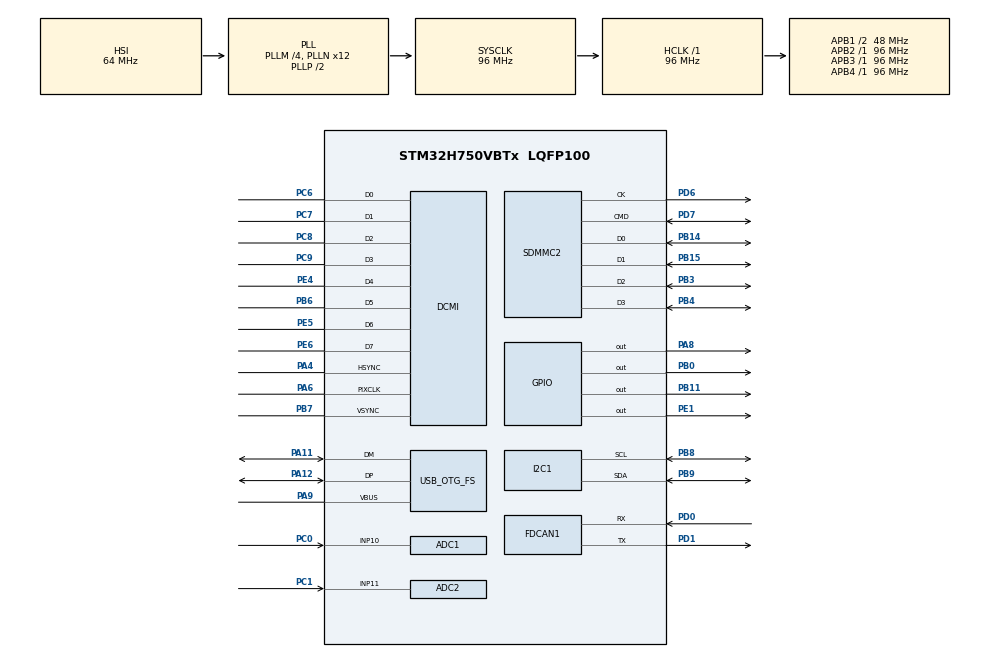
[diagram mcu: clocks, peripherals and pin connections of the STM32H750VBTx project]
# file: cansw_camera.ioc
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ADC1.Channel-0\#ChannelRegularConversion=ADC_CHANNEL_10
ADC1.ClockPrescaler=ADC_CLOCK_ASYNC_DIV64
ADC1.NbrOfConversionFlag=1
ADC1.OffsetNumber-0\#ChannelRegularConversion=ADC_OFFSET_NONE
ADC1.OffsetSignedSaturation-0\#ChannelRegularConversion=DISABLE
ADC1.Rank-0\#ChannelRegularConversion=1
ADC1.Resolution=ADC_RESOLUTION_12B
ADC1.SamplingTime-0\#ChannelRegularConversion=ADC_SAMPLETIME_1CYCLE_5
ADC1.master=1
ADC2.Channel-0\#ChannelRegularConversion=ADC_CHANNEL_11
ADC2.ClockPrescaler=ADC_CLOCK_ASYNC_DIV64
ADC2.NbrOfConversionFlag=1
ADC2.OffsetNumber-0\#ChannelRegularConversion=ADC_OFFSET_NONE
ADC2.OffsetSignedSaturation-0\#ChannelRegularConversion=DISABLE
ADC2.Rank-0\#ChannelRegularConversion=1
ADC2.Resolution=ADC_RESOLUTION_12B
ADC2.SamplingTime-0\#ChannelRegularConversion=ADC_SAMPLETIME_1CYCLE_5
DCMI.HSPolarity=DCMI_HSPOLARITY_HIGH
DCMI.JPEGMode=DCMI_JPEG_ENABLE
DCMI.PCKPolarity=DCMI_PCKPOLARITY_RISING
DCMI.VSPolarity=DCMI_VSPOLARITY_LOW
Dma.DCMI.0.Direction=DMA_PERIPH_TO_MEMORY
Dma.DCMI.0.EventEnable=DISABLE
Dma.DCMI.0.FIFOMode=DMA_FIFOMODE_DISABLE
Dma.DCMI.0.Instance=DMA2_Stream0
Dma.DCMI.0.MemDataAlignment=DMA_MDATAALIGN_WORD
Dma.DCMI.0.MemInc=DMA_MINC_ENABLE
Dma.DCMI.0.Mode=DMA_NORMAL
Dma.DCMI.0.PeriphDataAlignment=DMA_PDATAALIGN_WORD
Dma.DCMI.0.PeriphInc=DMA_PINC_DISABLE
Dma.DCMI.0.Polarity=HAL_DMAMUX_REQ_GEN_RISING
Dma.DCMI.0.Priority=DMA_PRIORITY_HIGH
Dma.DCMI.0.RequestNumber=1
Dma.DCMI.0.SignalID=NONE
Dma.DCMI.0.SyncEnable=DISABLE
Dma.DCMI.0.SyncPolarity=HAL_DMAMUX_SYNC_NO_EVENT
Dma.DCMI.0.SyncRequestNumber=1
Dma.DCMI.0.SyncSignalID=NONE
Dma.Request0=DCMI
FDCAN1.AutoRetransmission=ENABLE
FDCAN1.CalculateBaudRateNominal=250000
FDCAN1.CalculateTimeBitNominal=4000
FDCAN1.CalculateTimeQuantumNominal=1333.3333333333333
FDCAN1.NominalPrescaler=64
FDCAN1.RxFifo0ElmtsNbr=64
FDCAN1.TxEventsNbr=32
FDCAN1.TxFifoQueueElmtsNbr=32
I2C1.Timing=0x20303E5D
Mcu.Family=STM32H7
Mcu.Name=STM32H750VBTx
Mcu.Package=LQFP100
NVIC.DCMI_IRQn=true\:0\:0\:false\:false\:true\:true\:true\:true
NVIC.DMA2_Stream0_IRQn=true\:0\:0\:false\:false\:true\:false\:true\:true
NVIC.FDCAN1_IT0_IRQn=true\:0\:0\:false\:false\:true\:true\:true\:true
NVIC.FDCAN1_IT1_IRQn=true\:0\:0\:false\:false\:true\:true\:true\:true
NVIC.FDCAN_CAL_IRQn=true\:0\:0\:false\:false\:true\:true\:true\:true
NVIC.PriorityGroup=NVIC_PRIORITYGROUP_4
NVIC.SDMMC2_IRQn=true\:0\:0\:false\:false\:true\:true\:true\:true
PA11.Mode=Device_Only
PA11.Signal=USB_OTG_FS_DM
PA12.Mode=Device_Only
PA12.Signal=USB_OTG_FS_DP
PA13\ (JTMS/SWDIO).Signal=DEBUG_JTMS-SWDIO
PA14\ (JTCK/SWCLK).Signal=DEBUG_JTCK-SWCLK
PA4.Mode=Slave_8_bits_External_Synchro
PA4.Signal=DCMI_HSYNC
PA6.Mode=Slave_8_bits_External_Synchro
PA6.Signal=DCMI_PIXCLK
PA8.Signal=GPIO_Output
PA9.Mode=Activate_VBUS
PA9.Signal=USB_OTG_FS_VBUS
PB0.Signal=GPIO_Output
PB11.Signal=GPIO_Output
PB14.Mode=SD_4_bits_Wide_bus
PB14.Signal=SDMMC2_D0
PB15.Mode=SD_4_bits_Wide_bus
PB15.Signal=SDMMC2_D1
PB3\ (JTDO/TRACESWO).Mode=SD_4_bits_Wide_bus
PB3\ (JTDO/TRACESWO).Signal=SDMMC2_D2
PB4\ (NJTRST).Mode=SD_4_bits_Wide_bus
PB4\ (NJTRST).Signal=SDMMC2_D3
PB6.Mode=Slave_8_bits_External_Synchro
PB6.Signal=DCMI_D5
PB7.Mode=Slave_8_bits_External_Synchro
PB7.Signal=DCMI_VSYNC
PB8.Mode=I2C
PB8.Signal=I2C1_SCL
PB9.Mode=I2C
PB9.Signal=I2C1_SDA
PC0.Signal=ADCx_INP10
PC1.Signal=ADCx_INP11
PC6.Mode=Slave_8_bits_External_Synchro
PC6.Signal=DCMI_D0
PC7.Mode=Slave_8_bits_External_Synchro
PC7.Signal=DCMI_D1
PC8.Mode=Slave_8_bits_External_Synchro
PC8.Signal=DCMI_D2
PC9.Mode=Slave_8_bits_External_Synchro
PC9.Signal=DCMI_D3
PD0.Mode=FDCAN_Activate
PD0.Signal=FDCAN1_RX
PD1.Mode=FDCAN_Activate
PD1.Signal=FDCAN1_TX
PD6.Mode=SD_4_bits_Wide_bus
PD6.Signal=SDMMC2_CK
PD7.Mode=SD_4_bits_Wide_bus
PD7.Signal=SDMMC2_CMD
PE1.PinState=GPIO_PIN_SET
PE1.Signal=GPIO_Output
PE4.Mode=Slave_8_bits_External_Synchro
PE4.Signal=DCMI_D4
PE5.Mode=Slave_8_bits_External_Synchro
PE5.Signal=DCMI_D6
PE6.Mode=Slave_8_bits_External_Synchro
PE6.Signal=DCMI_D7
ProjectManager.HeapSize=0x200
ProjectManager.StackSize=0x400
ProjectManager.TargetToolchain=STM32CubeIDE
RCC.ADCFreq_Value=80000000
RCC.APB1Freq_Value=48000000
RCC.APB2Freq_Value=96000000
RCC.APB3Freq_Value=96000000
RCC.APB4Freq_Value=96000000
RCC.CortexFreq_Value=96000000
RCC.D2PPRE1=RCC_APB1_DIV2
RCC.DIVM1=4
RCC.DIVM2=4
RCC.DIVN1=12
RCC.DIVN2=10
RCC.DIVQ1=4
RCC.HCLKFreq_Value=96000000
RCC.PLL2FRACN=0
RCC.PLL3FRACN=0
RCC.PLLFRACN=0
RCC.SYSCLKFreq_VALUE=96000000
RCC.SYSCLKSource=RCC_SYSCLKSOURCE_PLLCLK
RCC.USBCLockSelection=RCC_USBCLKSOURCE_HSI48
RCC.USBFreq_Value=48000000
RCC.VDD_VALUE=2.8
SDMMC2.ClockDiv=8
SH.ADCx_INP10.0=ADC1_INP10,IN10-Single-Ended
SH.ADCx_INP11.0=ADC2_INP11,IN11-Single-Ended
USB_OTG_FS.VirtualMode=Device_Only
USB_OTG_FS.battery_charging_enable=DISABLE
VP_MEMORYMAP_VS_MEMORYMAP.Mode=CurAppReg
VP_RCC_USB.Mode=USB_FS
VP_VREFBUF_V_VREFBUF.Mode=ExternalMode
board=custom

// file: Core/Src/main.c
/* USER CODE BEGIN Header */
/**
 ******************************************************************************
 * @file           : main.c
 * @brief          : Main program body
 ******************************************************************************
 * @attention
 *
 * Copyright (c) 2024 STMicroelectronics.
 * All rights reserved.
 *
 * This software is licensed under terms that can be found in the LICENSE file
 * in the root directory of this software component.
 * If no LICENSE file comes with this software, it is provided AS-IS.
 *
 ******************************************************************************
 */
/* USER CODE END Header */
#include "main.h"

/* USER CODE BEGIN Includes */
#include "canlib.h"
#include "util/can_tx_buffer.h"
#include "platform.h"
#include "health_check.h"
#include "video.h"
/* USER CODE END Includes */

/* USER CODE BEGIN PD */
#define STATUS_TIME_ms 500 // Main status loop
#define FPS_TIME_ms 1000 // How often to report FPS
#define SYNC_TIME_ms 10000 // How often to sync video to the SD card
#define MAX_BUS_DEAD_TIME_ms 1000 // If we see no CAN messages (including our own), reset
#define MAX_CAN_IDLE_TIME_ms 15*60*1000 // If we see no actuator commands, turn off
/* USER CODE END PD */

/* USER CODE BEGIN PM */
can_actuator_id_t ACTUATOR_ID = ACTUATOR_CAMERA_CANARD_A;
/* USER CODE END PM */

ADC_HandleTypeDef hadc1;
ADC_HandleTypeDef hadc2;

DCMI_HandleTypeDef hdcmi;
DMA_HandleTypeDef hdma_dcmi;

FDCAN_HandleTypeDef hfdcan1;

I2C_HandleTypeDef hi2c1;

SD_HandleTypeDef hsd2;

PCD_HandleTypeDef hpcd_USB_OTG_FS;

void SystemClock_Config(void);
void PeriphCommonClock_Config(void);
static void MX_GPIO_Init(void);
static void MX_DMA_Init(void);
static void MX_DCMI_Init(void);
static void MX_SDMMC2_SD_Init(void);
static void MX_USB_OTG_FS_PCD_Init(void);
static void MX_FDCAN1_Init(void);
static void MX_I2C1_Init(void);
static void MX_ADC1_Init(void);
static void MX_ADC2_Init(void);

/* USER CODE BEGIN 0 */
volatile bool seen_can_command = false;
volatile bool recording_request = false;
void can_callback_function(const can_msg_t *msg, uint32_t) {
    switch (get_message_type(msg)) {
        case MSG_LEDS_ON:
            LED_RED_ON();
            LED_GREEN_ON();
            break;
        case MSG_LEDS_OFF:
            LED_RED_OFF();
            LED_GREEN_OFF();
            break;
        case MSG_RESET_CMD:
		    if(check_board_need_reset(msg)){
                NVIC_SystemReset();
		    }
            break;
        case MSG_ACTUATOR_CMD:
            if (get_actuator_id(msg) == ACTUATOR_ID) {
                seen_can_command = true;
                recording_request = (get_cmd_actuator_state(msg) == ACT_STATE_ON);
            }
            break;
        default:
            break;
    }
}
/* USER CODE END 0 */

int main(void)
{

  /* MCU Configuration--------------------------------------------------------*/

  /* Reset of all peripherals, Initializes the Flash interface and the Systick. */
  HAL_Init();

  /* Configure the system clock */
  SystemClock_Config();

  /* Configure the peripherals common clocks */
  PeriphCommonClock_Config();

  /* Initialize all configured peripherals */
  MX_GPIO_Init();
  MX_DMA_Init();
  MX_DCMI_Init();
  MX_SDMMC2_SD_Init();
  MX_USB_OTG_FS_PCD_Init();
  MX_FDCAN1_Init();
  MX_I2C1_Init();
  MX_ADC1_Init();
  MX_ADC2_Init();
  /* USER CODE BEGIN 2 */

    can_init_stm(&hfdcan1, can_callback_function);
  /* USER CODE END 2 */

  /* Infinite loop */
  /* USER CODE BEGIN WHILE */

	// Re-assign ACTUATOR_ID based on Board Instance ID
	switch(BOARD_INST_UNIQUE_ID) {
	case BOARD_INST_ID_CAMERA_CANARD_A:
		ACTUATOR_ID = ACTUATOR_CAMERA_CANARD_A;
		break;
	case BOARD_INST_ID_CAMERA_CANARD_B:
		ACTUATOR_ID = ACTUATOR_CAMERA_CANARD_B;
		break;
	case BOARD_INST_ID_CAMERA_RECOVERY:
		ACTUATOR_ID = ACTUATOR_CAMERA_RECOVERY;
		break;
	case BOARD_INST_ID_PAYLOAD:
		ACTUATOR_ID = ACTUATOR_CAMERA_PAYLOAD;
		break;
	}

    uint32_t last_command_time = 0;
    uint32_t last_status_time = 0;
    uint32_t last_fps_time = 0;
    uint32_t last_sync_time = 0;

    uint8_t fps_counter = 0;
    while (1) {
        if (seen_can_command) {
            seen_can_command = false;
            last_command_time = millis();
        }

        if (millis() - last_command_time > MAX_CAN_IDLE_TIME_ms) {
            recording_request = false;
        }

        if (millis() - last_status_time > STATUS_TIME_ms) {
            last_status_time = millis();
            LED_GREEN_TOGGLE();

			uint32_t general_error_bitfield = health_check();
            HAL_Delay(1); // Allow time for the TX fifo to empty??? Hacky fix
            video_state_t video_state = video_get_state();
            can_msg_t board_stat_msg;
            if (video_state != VIDEO_OFF && video_state != VIDEO_ON) {
			    build_general_board_status_msg(PRIO_HIGH, millis(), general_error_bitfield, 1, &board_stat_msg);
            } else {
                build_general_board_status_msg(PRIO_HIGH, millis(), general_error_bitfield, 0, &board_stat_msg);
            }
			can_send(&board_stat_msg);

            can_msg_t actuator_state_msg;
            can_actuator_state_t cur_state = ACT_STATE_ILLEGAL;
            if (video_state == VIDEO_OFF) {cur_state = ACT_STATE_OFF;}
            if (video_state == VIDEO_ON) {cur_state = ACT_STATE_ON;}
            can_actuator_state_t req_state = recording_request ? ACT_STATE_ON : ACT_STATE_OFF;
            build_actuator_status_msg(PRIO_MEDIUM, millis(), ACTUATOR_ID, cur_state, req_state, &actuator_state_msg);
            HAL_Delay(1); // Allow time for the TX fifo to empty??? Hacky fix
            can_send(&actuator_state_msg);

            // If something went wrong, turn off the camera and let another actuator command retry
            if (video_state != VIDEO_OFF && video_state != VIDEO_ON) {
                recording_request = false;
            }
        }

        if (recording_request) {
            LED_RED_ON();
            if (video_get_state() == VIDEO_OFF) {
                video_start();
                last_sync_time = millis();
            }

            if (video_capture_frame()) {
                fps_counter++;
            }

            if (millis() - last_sync_time > SYNC_TIME_ms) {
                last_sync_time = millis();
                video_f_sync();
            }
        } else {
            LED_RED_OFF();
            if (video_get_state() != VIDEO_OFF) {
                video_stop();
            }
        }

        if (millis() - last_fps_time > FPS_TIME_ms) {
            last_fps_time = millis();

            can_msg_t fps_msg;
            build_analog_data_msg(PRIO_MEDIUM, millis(), SENSOR_FPS, fps_counter / (FPS_TIME_ms / 1000), &fps_msg);
            can_send(&fps_msg);

            fps_counter = 0;
        }

        txb_heartbeat();
    /* USER CODE END WHILE */

    }
}

void SystemClock_Config(void)
{
  RCC_OscInitTypeDef RCC_OscInitStruct = {0};
  RCC_ClkInitTypeDef RCC_ClkInitStruct = {0};
  RCC_CRSInitTypeDef RCC_CRSInitStruct = {0};

  /** Supply configuration update enable
  */
  HAL_PWREx_ConfigSupply(PWR_LDO_SUPPLY);

  /** Configure the main internal regulator output voltage
  */
  __HAL_PWR_VOLTAGESCALING_CONFIG(PWR_REGULATOR_VOLTAGE_SCALE3);

  while(!__HAL_PWR_GET_FLAG(PWR_FLAG_VOSRDY)) {}

  /** Initializes the RCC Oscillators according to the specified parameters
  * in the RCC_OscInitTypeDef structure.
  */
  RCC_OscInitStruct.OscillatorType = RCC_OSCILLATORTYPE_HSI48|RCC_OSCILLATORTYPE_HSI;
  RCC_OscInitStruct.HSIState = RCC_HSI_DIV1;
  RCC_OscInitStruct.HSICalibrationValue = RCC_HSICALIBRATION_DEFAULT;
  RCC_OscInitStruct.HSI48State = RCC_HSI48_ON;
  RCC_OscInitStruct.PLL.PLLState = RCC_PLL_ON;
  RCC_OscInitStruct.PLL.PLLSource = RCC_PLLSOURCE_HSI;
  RCC_OscInitStruct.PLL.PLLM = 4;
  RCC_OscInitStruct.PLL.PLLN = 12;
  RCC_OscInitStruct.PLL.PLLP = 2;
  RCC_OscInitStruct.PLL.PLLQ = 4;
  RCC_OscInitStruct.PLL.PLLR = 2;
  RCC_OscInitStruct.PLL.PLLRGE = RCC_PLL1VCIRANGE_3;
  RCC_OscInitStruct.PLL.PLLVCOSEL = RCC_PLL1VCOWIDE;
  RCC_OscInitStruct.PLL.PLLFRACN = 0;
  if (HAL_RCC_OscConfig(&RCC_OscInitStruct) != HAL_OK)
  {
    Error_Handler();
  }

  /** Initializes the CPU, AHB and APB buses clocks
  */
  RCC_ClkInitStruct.ClockType = RCC_CLOCKTYPE_HCLK|RCC_CLOCKTYPE_SYSCLK
                              |RCC_CLOCKTYPE_PCLK1|RCC_CLOCKTYPE_PCLK2
                              |RCC_CLOCKTYPE_D3PCLK1|RCC_CLOCKTYPE_D1PCLK1;
  RCC_ClkInitStruct.SYSCLKSource = RCC_SYSCLKSOURCE_PLLCLK;
  RCC_ClkInitStruct.SYSCLKDivider = RCC_SYSCLK_DIV1;
  RCC_ClkInitStruct.AHBCLKDivider = RCC_HCLK_DIV1;
  RCC_ClkInitStruct.APB3CLKDivider = RCC_APB3_DIV1;
  RCC_ClkInitStruct.APB1CLKDivider = RCC_APB1_DIV2;
  RCC_ClkInitStruct.APB2CLKDivider = RCC_APB2_DIV1;
  RCC_ClkInitStruct.APB4CLKDivider = RCC_APB4_DIV1;

  if (HAL_RCC_ClockConfig(&RCC_ClkInitStruct, FLASH_LATENCY_2) != HAL_OK)
  {
    Error_Handler();
  }

  /** Enable the SYSCFG APB clock
  */
  __HAL_RCC_CRS_CLK_ENABLE();

  /** Configures CRS
  */
  RCC_CRSInitStruct.Prescaler = RCC_CRS_SYNC_DIV1;
  RCC_CRSInitStruct.Source = RCC_CRS_SYNC_SOURCE_USB2;
  RCC_CRSInitStruct.Polarity = RCC_CRS_SYNC_POLARITY_RISING;
  RCC_CRSInitStruct.ReloadValue = __HAL_RCC_CRS_RELOADVALUE_CALCULATE(48000000,1000);
  RCC_CRSInitStruct.ErrorLimitValue = 34;
  RCC_CRSInitStruct.HSI48CalibrationValue = 32;

  HAL_RCCEx_CRSConfig(&RCC_CRSInitStruct);
}

void PeriphCommonClock_Config(void)
{
  RCC_PeriphCLKInitTypeDef PeriphClkInitStruct = {0};

  /** Initializes the peripherals clock
  */
  PeriphClkInitStruct.PeriphClockSelection = RCC_PERIPHCLK_ADC;
  PeriphClkInitStruct.PLL2.PLL2M = 4;
  PeriphClkInitStruct.PLL2.PLL2N = 10;
  PeriphClkInitStruct.PLL2.PLL2P = 2;
  PeriphClkInitStruct.PLL2.PLL2Q = 2;
  PeriphClkInitStruct.PLL2.PLL2R = 2;
  PeriphClkInitStruct.PLL2.PLL2RGE = RCC_PLL2VCIRANGE_3;
  PeriphClkInitStruct.PLL2.PLL2VCOSEL = RCC_PLL2VCOMEDIUM;
  PeriphClkInitStruct.PLL2.PLL2FRACN = 0;
  PeriphClkInitStruct.AdcClockSelection = RCC_ADCCLKSOURCE_PLL2;
  if (HAL_RCCEx_PeriphCLKConfig(&PeriphClkInitStruct) != HAL_OK)
  {
    Error_Handler();
  }
}

static void MX_ADC1_Init(void)
{

  ADC_MultiModeTypeDef multimode = {0};
  ADC_ChannelConfTypeDef sConfig = {0};

  /** Common config
  */
  hadc1.Instance = ADC1;
  hadc1.Init.ClockPrescaler = ADC_CLOCK_ASYNC_DIV64;
  hadc1.Init.Resolution = ADC_RESOLUTION_12B;
  hadc1.Init.ScanConvMode = ADC_SCAN_DISABLE;
  hadc1.Init.EOCSelection = ADC_EOC_SINGLE_CONV;
  hadc1.Init.LowPowerAutoWait = DISABLE;
  hadc1.Init.ContinuousConvMode = DISABLE;
  hadc1.Init.NbrOfConversion = 1;
  hadc1.Init.DiscontinuousConvMode = DISABLE;
  hadc1.Init.ExternalTrigConv = ADC_SOFTWARE_START;
  hadc1.Init.ExternalTrigConvEdge = ADC_EXTERNALTRIGCONVEDGE_NONE;
  hadc1.Init.ConversionDataManagement = ADC_CONVERSIONDATA_DR;
  hadc1.Init.Overrun = ADC_OVR_DATA_PRESERVED;
  hadc1.Init.LeftBitShift = ADC_LEFTBITSHIFT_NONE;
  hadc1.Init.OversamplingMode = DISABLE;
  hadc1.Init.Oversampling.Ratio = 1;
  if (HAL_ADC_Init(&hadc1) != HAL_OK)
  {
    Error_Handler();
  }

  /** Configure the ADC multi-mode
  */
  multimode.Mode = ADC_MODE_INDEPENDENT;
  if (HAL_ADCEx_MultiModeConfigChannel(&hadc1, &multimode) != HAL_OK)
  {
    Error_Handler();
  }

  /** Configure Regular Channel
  */
  sConfig.Channel = ADC_CHANNEL_10;
  sConfig.Rank = ADC_REGULAR_RANK_1;
  sConfig.SamplingTime = ADC_SAMPLETIME_1CYCLE_5;
  sConfig.SingleDiff = ADC_SINGLE_ENDED;
  sConfig.OffsetNumber = ADC_OFFSET_NONE;
  sConfig.Offset = 0;
  sConfig.OffsetSignedSaturation = DISABLE;
  if (HAL_ADC_ConfigChannel(&hadc1, &sConfig) != HAL_OK)
  {
    Error_Handler();
  }

}

static void MX_ADC2_Init(void)
{

  ADC_ChannelConfTypeDef sConfig = {0};

  /** Common config
  */
  hadc2.Instance = ADC2;
  hadc2.Init.ClockPrescaler = ADC_CLOCK_ASYNC_DIV64;
  hadc2.Init.Resolution = ADC_RESOLUTION_12B;
  hadc2.Init.ScanConvMode = ADC_SCAN_DISABLE;
  hadc2.Init.EOCSelection = ADC_EOC_SINGLE_CONV;
  hadc2.Init.LowPowerAutoWait = DISABLE;
  hadc2.Init.ContinuousConvMode = DISABLE;
  hadc2.Init.NbrOfConversion = 1;
  hadc2.Init.DiscontinuousConvMode = DISABLE;
  hadc2.Init.ExternalTrigConv = ADC_SOFTWARE_START;
  hadc2.Init.ExternalTrigConvEdge = ADC_EXTERNALTRIGCONVEDGE_NONE;
  hadc2.Init.ConversionDataManagement = ADC_CONVERSIONDATA_DR;
  hadc2.Init.Overrun = ADC_OVR_DATA_PRESERVED;
  hadc2.Init.LeftBitShift = ADC_LEFTBITSHIFT_NONE;
  hadc2.Init.OversamplingMode = DISABLE;
  hadc2.Init.Oversampling.Ratio = 1;
  if (HAL_ADC_Init(&hadc2) != HAL_OK)
  {
    Error_Handler();
  }

  /** Configure Regular Channel
  */
  sConfig.Channel = ADC_CHANNEL_11;
  sConfig.Rank = ADC_REGULAR_RANK_1;
  sConfig.SamplingTime = ADC_SAMPLETIME_1CYCLE_5;
  sConfig.SingleDiff = ADC_SINGLE_ENDED;
  sConfig.OffsetNumber = ADC_OFFSET_NONE;
  sConfig.Offset = 0;
  sConfig.OffsetSignedSaturation = DISABLE;
  if (HAL_ADC_ConfigChannel(&hadc2, &sConfig) != HAL_OK)
  {
    Error_Handler();
  }

}

static void MX_DCMI_Init(void)
{

  hdcmi.Instance = DCMI;
  hdcmi.Init.SynchroMode = DCMI_SYNCHRO_HARDWARE;
  hdcmi.Init.PCKPolarity = DCMI_PCKPOLARITY_RISING;
  hdcmi.Init.VSPolarity = DCMI_VSPOLARITY_LOW;
  hdcmi.Init.HSPolarity = DCMI_HSPOLARITY_HIGH;
  hdcmi.Init.CaptureRate = DCMI_CR_ALL_FRAME;
  hdcmi.Init.ExtendedDataMode = DCMI_EXTEND_DATA_8B;
  hdcmi.Init.JPEGMode = DCMI_JPEG_ENABLE;
  hdcmi.Init.ByteSelectMode = DCMI_BSM_ALL;
  hdcmi.Init.ByteSelectStart = DCMI_OEBS_ODD;
  hdcmi.Init.LineSelectMode = DCMI_LSM_ALL;
  hdcmi.Init.LineSelectStart = DCMI_OELS_ODD;
  if (HAL_DCMI_Init(&hdcmi) != HAL_OK)
  {
    Error_Handler();
  }

}

static void MX_FDCAN1_Init(void)
{

  hfdcan1.Instance = FDCAN1;
  hfdcan1.Init.FrameFormat = FDCAN_FRAME_CLASSIC;
  hfdcan1.Init.Mode = FDCAN_MODE_NORMAL;
  hfdcan1.Init.AutoRetransmission = ENABLE;
  hfdcan1.Init.TransmitPause = DISABLE;
  hfdcan1.Init.ProtocolException = DISABLE;
  hfdcan1.Init.NominalPrescaler = 64;
  hfdcan1.Init.NominalSyncJumpWidth = 1;
  hfdcan1.Init.NominalTimeSeg1 = 1;
  hfdcan1.Init.NominalTimeSeg2 = 1;
  hfdcan1.Init.DataPrescaler = 1;
  hfdcan1.Init.DataSyncJumpWidth = 1;
  hfdcan1.Init.DataTimeSeg1 = 1;
  hfdcan1.Init.DataTimeSeg2 = 1;
  hfdcan1.Init.MessageRAMOffset = 0;
  hfdcan1.Init.StdFiltersNbr = 0;
  hfdcan1.Init.ExtFiltersNbr = 0;
  hfdcan1.Init.RxFifo0ElmtsNbr = 64;
  hfdcan1.Init.RxFifo0ElmtSize = FDCAN_DATA_BYTES_8;
  hfdcan1.Init.RxFifo1ElmtsNbr = 0;
  hfdcan1.Init.RxFifo1ElmtSize = FDCAN_DATA_BYTES_8;
  hfdcan1.Init.RxBuffersNbr = 0;
  hfdcan1.Init.RxBufferSize = FDCAN_DATA_BYTES_8;
  hfdcan1.Init.TxEventsNbr = 32;
  hfdcan1.Init.TxBuffersNbr = 0;
  hfdcan1.Init.TxFifoQueueElmtsNbr = 32;
  hfdcan1.Init.TxFifoQueueMode = FDCAN_TX_FIFO_OPERATION;
  hfdcan1.Init.TxElmtSize = FDCAN_DATA_BYTES_8;
  if (HAL_FDCAN_Init(&hfdcan1) != HAL_OK)
  {
    Error_Handler();
  }

}

static void MX_I2C1_Init(void)
{

  hi2c1.Instance = I2C1;
  hi2c1.Init.Timing = 0x20303E5D;
  hi2c1.Init.OwnAddress1 = 0;
  hi2c1.Init.AddressingMode = I2C_ADDRESSINGMODE_7BIT;
  hi2c1.Init.DualAddressMode = I2C_DUALADDRESS_DISABLE;
  hi2c1.Init.OwnAddress2 = 0;
  hi2c1.Init.OwnAddress2Masks = I2C_OA2_NOMASK;
  hi2c1.Init.GeneralCallMode = I2C_GENERALCALL_DISABLE;
  hi2c1.Init.NoStretchMode = I2C_NOSTRETCH_DISABLE;
  if (HAL_I2C_Init(&hi2c1) != HAL_OK)
  {
    Error_Handler();
  }

  /** Configure Analogue filter
  */
  if (HAL_I2CEx_ConfigAnalogFilter(&hi2c1, I2C_ANALOGFILTER_ENABLE) != HAL_OK)
  {
    Error_Handler();
  }

  /** Configure Digital filter
  */
  if (HAL_I2CEx_ConfigDigitalFilter(&hi2c1, 0) != HAL_OK)
  {
    Error_Handler();
  }

}

static void MX_SDMMC2_SD_Init(void)
{

  hsd2.Instance = SDMMC2;
  hsd2.Init.ClockEdge = SDMMC_CLOCK_EDGE_RISING;
  hsd2.Init.ClockPowerSave = SDMMC_CLOCK_POWER_SAVE_DISABLE;
  hsd2.Init.BusWide = SDMMC_BUS_WIDE_4B;
  hsd2.Init.HardwareFlowControl = SDMMC_HARDWARE_FLOW_CONTROL_DISABLE;
  hsd2.Init.ClockDiv = 8;
  if (HAL_SD_Init(&hsd2) != HAL_OK)
  {
    Error_Handler();
  }

}

static void MX_USB_OTG_FS_PCD_Init(void)
{

  hpcd_USB_OTG_FS.Instance = USB_OTG_FS;
  hpcd_USB_OTG_FS.Init.dev_endpoints = 9;
  hpcd_USB_OTG_FS.Init.speed = PCD_SPEED_FULL;
  hpcd_USB_OTG_FS.Init.dma_enable = DISABLE;
  hpcd_USB_OTG_FS.Init.phy_itface = PCD_PHY_EMBEDDED;
  hpcd_USB_OTG_FS.Init.Sof_enable = DISABLE;
  hpcd_USB_OTG_FS.Init.low_power_enable = DISABLE;
  hpcd_USB_OTG_FS.Init.lpm_enable = DISABLE;
  hpcd_USB_OTG_FS.Init.battery_charging_enable = DISABLE;
  hpcd_USB_OTG_FS.Init.vbus_sensing_enable = ENABLE;
  hpcd_USB_OTG_FS.Init.use_dedicated_ep1 = DISABLE;
  if (HAL_PCD_Init(&hpcd_USB_OTG_FS) != HAL_OK)
  {
    Error_Handler();
  }

}

static void MX_DMA_Init(void)
{

  /* DMA controller clock enable */
  __HAL_RCC_DMA2_CLK_ENABLE();

  /* DMA interrupt init */
  /* DMA2_Stream0_IRQn interrupt configuration */
  HAL_NVIC_SetPriority(DMA2_Stream0_IRQn, 0, 0);
  HAL_NVIC_EnableIRQ(DMA2_Stream0_IRQn);

}

static void MX_GPIO_Init(void)
{
  GPIO_InitTypeDef GPIO_InitStruct = {0};

  /* GPIO Ports Clock Enable */
  __HAL_RCC_GPIOE_CLK_ENABLE();
  __HAL_RCC_GPIOC_CLK_ENABLE();
  __HAL_RCC_GPIOA_CLK_ENABLE();
  __HAL_RCC_GPIOB_CLK_ENABLE();
  __HAL_RCC_GPIOD_CLK_ENABLE();

  /*Configure GPIO pin Output Level */
  HAL_GPIO_WritePin(GPIOB, GPIO_PIN_0|GPIO_PIN_11, GPIO_PIN_RESET);

  /*Configure GPIO pin Output Level */
  HAL_GPIO_WritePin(GPIOA, GPIO_PIN_8, GPIO_PIN_RESET);

  /*Configure GPIO pin Output Level */
  HAL_GPIO_WritePin(GPIOE, GPIO_PIN_1, GPIO_PIN_SET);

  /*Configure GPIO pins : PB0 PB11 */
  GPIO_InitStruct.Pin = GPIO_PIN_0|GPIO_PIN_11;
  GPIO_InitStruct.Mode = GPIO_MODE_OUTPUT_PP;
  GPIO_InitStruct.Pull = GPIO_NOPULL;
  GPIO_InitStruct.Speed = GPIO_SPEED_FREQ_LOW;
  HAL_GPIO_Init(GPIOB, &GPIO_InitStruct);

  /*Configure GPIO pin : PA8 */
  GPIO_InitStruct.Pin = GPIO_PIN_8;
  GPIO_InitStruct.Mode = GPIO_MODE_OUTPUT_PP;
  GPIO_InitStruct.Pull = GPIO_NOPULL;
  GPIO_InitStruct.Speed = GPIO_SPEED_FREQ_LOW;
  HAL_GPIO_Init(GPIOA, &GPIO_InitStruct);

  /*Configure GPIO pin : PE1 */
  GPIO_InitStruct.Pin = GPIO_PIN_1;
  GPIO_InitStruct.Mode = GPIO_MODE_OUTPUT_PP;
  GPIO_InitStruct.Pull = GPIO_NOPULL;
  GPIO_InitStruct.Speed = GPIO_SPEED_FREQ_LOW;
  HAL_GPIO_Init(GPIOE, &GPIO_InitStruct);

}

void Error_Handler(void)
{
    __disable_irq();
    while (1) {
    }
}
